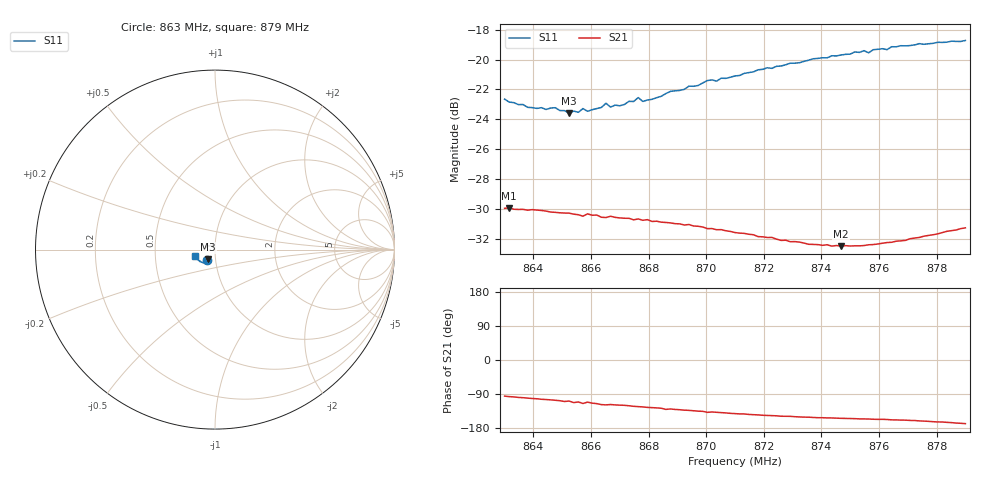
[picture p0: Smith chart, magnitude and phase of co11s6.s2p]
# HZ S RI R 50
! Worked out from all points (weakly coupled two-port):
!   101 points, 863 MHz to 879 MHz, reference 50 ohm
!   highest |S21| = -29.93 dB at 863.16 MHz (marker M1); lowest = -32.5 dB at 874.68 MHz (marker M2)
!   lowest |S11| = -23.6 dB at 865.24 MHz (marker M3), VSWR 1.14, Z = 46.1 - j5.01 ohm
!   |S11| at or under -10 dB: start of sweep to end of sweep
!   S12 and S22 are empty: the file has one direction only
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8.63e8  -0.0466 -0.0571  -0.00294 -0.0317  0 0  0 0
8.6316e8  -0.0453 -0.056  -0.0037 -0.0317  0 0  0 0
8.638e8  -0.0432 -0.0541  -0.00573 -0.0308  0 0  0 0
8.6476e8  -0.041 -0.0555  -0.00863 -0.0296  0 0  0 0
8.6524e8  -0.038 -0.0541  -0.00965 -0.0291  0 0  0 0
8.6556e8  -0.0378 -0.0549  -0.0107 -0.0283  0 0  0 0
8.6572e8  -0.0373 -0.0575  -0.0125 -0.0272  0 0  0 0
8.6588e8  -0.0348 -0.0574  -0.011 -0.0284  0 0  0 0
8.6652e8  -0.038 -0.0605  -0.0141 -0.026  0 0  0 0
8.6668e8  -0.037 -0.0587  -0.0138 -0.0265  0 0  0 0
8.6748e8  -0.0352 -0.0633  -0.0155 -0.0246  0 0  0 0
8.6764e8  -0.0383 -0.064  -0.016 -0.0245  0 0  0 0
8.678e8  -0.0363 -0.0627  -0.0161 -0.0241  0 0  0 0
8.6844e8  -0.0373 -0.0655  -0.0173 -0.0227  0 0  0 0
8.7004e8  -0.0451 -0.0722  -0.0202 -0.0181  0 0  0 0
8.71e8  -0.0502 -0.0724  -0.0206 -0.0164  0 0  0 0
8.7372e8  -0.0705 -0.0719  -0.0212 -0.0114  0 0  0 0
8.7468e8  -0.078 -0.0681  -0.0213 -0.0104  0 0  0 0
8.7548e8  -0.0843 -0.0661  -0.0217 -0.0099  0 0  0 0
8.7564e8  -0.0843 -0.0632  -0.0219 -0.00987  0 0  0 0
8.7644e8  -0.093 -0.0595  -0.0227 -0.00919  0 0  0 0
8.79e8  -0.1098 -0.0369  -0.0267 -0.00573  0 0  0 0
